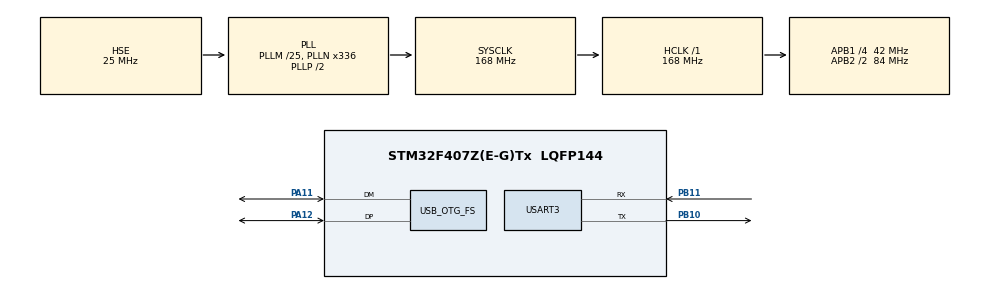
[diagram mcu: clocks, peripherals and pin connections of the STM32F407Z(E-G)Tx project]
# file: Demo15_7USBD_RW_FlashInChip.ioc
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Mcu.Family=STM32F4
Mcu.Name=STM32F407Z(E-G)Tx
Mcu.Package=LQFP144
NVIC.OTG_FS_IRQn=true\:1\:0\:true\:false\:true\:false\:true\:true
NVIC.PriorityGroup=NVIC_PRIORITYGROUP_4
PA11.Mode=Device_Only
PA11.Signal=USB_OTG_FS_DM
PA12.Mode=Device_Only
PA12.Signal=USB_OTG_FS_DP
PA13.Mode=Serial_Wire
PA13.Signal=SYS_JTMS-SWDIO
PA14.Mode=Serial_Wire
PA14.Signal=SYS_JTCK-SWCLK
PB10.Mode=Asynchronous
PB10.Signal=USART3_TX
PB11.Mode=Asynchronous
PB11.Signal=USART3_RX
PH0-OSC_IN.Mode=HSE-External-Oscillator
PH0-OSC_IN.Signal=RCC_OSC_IN
PH1-OSC_OUT.Mode=HSE-External-Oscillator
PH1-OSC_OUT.Signal=RCC_OSC_OUT
ProjectManager.HeapSize=0x1000
ProjectManager.StackSize=0x400
ProjectManager.TargetToolchain=STM32CubeIDE
RCC.48MHZClocksFreq_Value=48000000
RCC.AHBFreq_Value=168000000
RCC.APB1CLKDivider=RCC_HCLK_DIV4
RCC.APB1Freq_Value=42000000
RCC.APB1TimFreq_Value=84000000
RCC.APB2CLKDivider=RCC_HCLK_DIV2
RCC.APB2Freq_Value=84000000
RCC.APB2TimFreq_Value=168000000
RCC.CortexFreq_Value=168000000
RCC.HCLKFreq_Value=168000000
RCC.HSE_VALUE=25000000
RCC.HSI_VALUE=16000000
RCC.LSE_VALUE=32768
RCC.PLLM=25
RCC.PLLN=336
RCC.PLLQ=7
RCC.SYSCLKFreq_VALUE=168000000
RCC.SYSCLKSource=RCC_SYSCLKSOURCE_PLLCLK
RCC.VCOOutputFreq_Value=336000000
USART3.VirtualMode=VM_ASYNC
USB_DEVICE.CLASS_NAME_FS=MSC
USB_DEVICE.MSC_MEDIA_PACKET-MSC_FS=4096
USB_DEVICE.VirtualMode-MSC_FS=Msc
USB_DEVICE.VirtualModeFS=Msc_FS
USB_OTG_FS.VirtualMode=Device_Only
VP_USB_DEVICE_VS_USB_DEVICE_MSC_FS.Mode=MSC_FS
board=custom

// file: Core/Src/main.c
/* USER CODE BEGIN Header */
/**
  ******************************************************************************
  * @file           : main.c
  * @brief          : Main program body
  ******************************************************************************
  * @attention
  *
  * Copyright (c) 2026 STMicroelectronics.
  * All rights reserved.
  *
  * This software is licensed under terms that can be found in the LICENSE file
  * in the root directory of this software component.
  * If no LICENSE file comes with this software, it is provided AS-IS.
  *
  ******************************************************************************
  */
/* USER CODE END Header */
#include "main.h"
#include "usart.h"
#include "usb_device.h"
#include "gpio.h"

/* USER CODE BEGIN Includes */
#include "stdio.h"
/* USER CODE END Includes */

/* USER CODE BEGIN PM */
#define FLASH_USER_START_ADDR   ADDR_FLASH_SECTOR_10
#define FLASH_USER_END_ADDR     ADDR_FLASH_SECTOR_11
#define DATA_32                 ((uint32_t)0x12345678)
/* USER CODE END PM */

void SystemClock_Config(void);
/* USER CODE BEGIN PFP */
static uint32_t GetSector(uint32_t Address);
/* USER CODE END PFP */

int main(void)
{

  /* MCU Configuration--------------------------------------------------------*/

  /* Reset of all peripherals, Initializes the Flash interface and the Systick. */
  HAL_Init();

  /* Configure the system clock */
  SystemClock_Config();

  /* Initialize all configured peripherals */
  MX_GPIO_Init();
  MX_USART3_UART_Init();
  MX_USB_DEVICE_Init();
  /* USER CODE BEGIN 2 */
  printf("test Demo15_7 read and write Flash_In_Chip, and used for USBD MSC.\r\n");

//  Test1_FlashInChip();
//  Test2_FlashInChip();
  Test3_FlashInChip();
  /* USER CODE END 2 */

  /* Infinite loop */
  while (1)
  {

  }
}

void SystemClock_Config(void)
{
  RCC_OscInitTypeDef RCC_OscInitStruct = {0};
  RCC_ClkInitTypeDef RCC_ClkInitStruct = {0};

  /** Configure the main internal regulator output voltage
  */
  __HAL_RCC_PWR_CLK_ENABLE();
  __HAL_PWR_VOLTAGESCALING_CONFIG(PWR_REGULATOR_VOLTAGE_SCALE1);

  /** Initializes the RCC Oscillators according to the specified parameters
  * in the RCC_OscInitTypeDef structure.
  */
  RCC_OscInitStruct.OscillatorType = RCC_OSCILLATORTYPE_HSE;
  RCC_OscInitStruct.HSEState = RCC_HSE_ON;
  RCC_OscInitStruct.PLL.PLLState = RCC_PLL_ON;
  RCC_OscInitStruct.PLL.PLLSource = RCC_PLLSOURCE_HSE;
  RCC_OscInitStruct.PLL.PLLM = 25;
  RCC_OscInitStruct.PLL.PLLN = 336;
  RCC_OscInitStruct.PLL.PLLP = RCC_PLLP_DIV2;
  RCC_OscInitStruct.PLL.PLLQ = 7;
  if (HAL_RCC_OscConfig(&RCC_OscInitStruct) != HAL_OK)
  {
    Error_Handler();
  }

  /** Initializes the CPU, AHB and APB buses clocks
  */
  RCC_ClkInitStruct.ClockType = RCC_CLOCKTYPE_HCLK|RCC_CLOCKTYPE_SYSCLK
                              |RCC_CLOCKTYPE_PCLK1|RCC_CLOCKTYPE_PCLK2;
  RCC_ClkInitStruct.SYSCLKSource = RCC_SYSCLKSOURCE_PLLCLK;
  RCC_ClkInitStruct.AHBCLKDivider = RCC_SYSCLK_DIV1;
  RCC_ClkInitStruct.APB1CLKDivider = RCC_HCLK_DIV4;
  RCC_ClkInitStruct.APB2CLKDivider = RCC_HCLK_DIV2;

  if (HAL_RCC_ClockConfig(&RCC_ClkInitStruct, FLASH_LATENCY_5) != HAL_OK)
  {
    Error_Handler();
  }
}

/* USER CODE BEGIN 4 */
/*
*	 @brief:get sector
*/
/* start test 6 */
uint32_t Addr_Index[12+1] = {ADDR_FLASH_SECTOR_0,ADDR_FLASH_SECTOR_1,ADDR_FLASH_SECTOR_2,\
                          ADDR_FLASH_SECTOR_3,ADDR_FLASH_SECTOR_4,ADDR_FLASH_SECTOR_5,\
                          ADDR_FLASH_SECTOR_6,ADDR_FLASH_SECTOR_7,ADDR_FLASH_SECTOR_8,\
                          ADDR_FLASH_SECTOR_9,ADDR_FLASH_SECTOR_10,ADDR_FLASH_SECTOR_11,ADDR_FLASH_SECTOR_12};

uint8_t FlashSector_Index[12] = {FLASH_SECTOR_0,FLASH_SECTOR_1,FLASH_SECTOR_2,
                                FLASH_SECTOR_3,FLASH_SECTOR_4,FLASH_SECTOR_5,
                                FLASH_SECTOR_6,FLASH_SECTOR_7,FLASH_SECTOR_8,
                                FLASH_SECTOR_9,FLASH_SECTOR_10,FLASH_SECTOR_11,};
/**
  * @brief  give the sector according to the address
  *			such as:
			BeginSector =GetSector(start_addr);
			EndSector =GetSector(start_addr +bytes_tobe_written -1);
  * @param  Address：address
  * @retval the sector where the address is located
  */
static uint32_t GetSector(uint32_t Address)
{
	/* Check the parameters */
	assert_param(IS_FLASH_ADDRESS(Address));

	uint32_t sector = 0;
	for(uint8_t i=0; i<12; i++)
		if((Address >=Addr_Index[i]) && (Address <Addr_Index[i+1]))
			sector =(uint32_t)(FlashSector_Index[i]);

	return sector;
}

/*
*  @brief:write flash according to byte address.
*  @prama start_addr: physic address begin to read,such as 0x08020100.
*  @param bytes_tobe_rw: total bytes to be write,bytes.
*  @retval voidֵ
*/
void Flash_Write(uint8_t *RAM_Buffer, uint32_t start_addr, uint32_t bytes_tobe_rw)
{
/* erase user area.
 * The user area refers to the space not utilized by the program itself,
 * which can be customized.
*/
/* clear FLASH flags*/
	__HAL_FLASH_CLEAR_FLAG(FLASH_FLAG_EOP | FLASH_FLAG_OPERR | FLASH_FLAG_WRPERR |
                  FLASH_FLAG_PGAERR | FLASH_FLAG_PGPERR|FLASH_FLAG_PGSERR);

	uint32_t StartSector = GetSector(start_addr);
	uint32_t EndSector = GetSector(start_addr +bytes_tobe_rw -1);

	HAL_FLASH_Unlock();
/* erase sectors or mass********************************/
	FLASH_EraseInitTypeDef eraseinit ={};
	eraseinit.NbSectors =EndSector -StartSector +1;
	eraseinit.Sector =StartSector;
	eraseinit.TypeErase =FLASH_TYPEERASE_SECTORS;
	eraseinit.VoltageRange =FLASH_VOLTAGE_RANGE_3;
	uint32_t SectorError =0;
	if(HAL_FLASHEx_Erase(&eraseinit, &SectorError) !=HAL_OK){
		printf("erase failure。");	//TEST
	}

/* Write into FLASH in words ********************************/
	uint32_t DATA32[bytes_tobe_rw/4] ={};
	for(uint32_t j=0; j <bytes_tobe_rw/4; j++)
	{
		DATA32[j] =RAM_Buffer[j*4+0] |(RAM_Buffer[j*4+1]<<8) |(RAM_Buffer[j*4+2]<<16) |(RAM_Buffer[j*4+3]<<24);
		printf("data ready, DATA32[0x%08lx] =0x%08lx,\r\n",j,DATA32[j]);//test
	}

	uint32_t Address =start_addr;
	uint32_t j =0;
	while (Address <(uint32_t)(start_addr +bytes_tobe_rw))
	{
		if(HAL_FLASH_Program(FLASH_TYPEPROGRAM_WORD, Address, DATA32[j]) == HAL_OK)
		{
			printf("写入Address %08lx =%08lx,\r\n",Address,DATA32[j]);	//test
			Address +=4;	//address alignment
			j ++;
		}
		else
			Error_Handler();
	}
	while (__HAL_FLASH_GET_FLAG(FLASH_FLAG_BSY));
	HAL_FLASH_Lock();
}

/*
*  @brief:read to RAM_Buffer flash according to byte address.
*  @prama start_addr: physic address begin to read,such as 0x08020100.
*  @param bytes_tobe_rw: total bytes to be read,bytes.
*  @retval voidֵ
*/
void Flash_Read(uint8_t *RAM_Buffer, uint32_t start_addr, uint32_t bytes_tobe_rw)
{
	uint32_t Address =start_addr;
    volatile uint32_t Data32[bytes_tobe_rw/4] ={};	//read in word 32bits

    uint32_t j=0;
  	while(Address <(start_addr +bytes_tobe_rw))
  	{
  		__DSB();
  		Data32[j] = *(volatile uint32_t*)Address;	//Forced read from physical address
  		RAM_Buffer[j*4+0] =(uint8_t)(Data32[j]&0xFF);
  		RAM_Buffer[j*4+1] =(uint8_t)((Data32[j]>>8)&0xFF);
  		RAM_Buffer[j*4+2] =(uint8_t)((Data32[j]>>16)&0xFF);
  		RAM_Buffer[j*4+3] =(uint8_t)((Data32[j]>>24)&0xFF);

  		printf("read Address %08lx =%08lx,\r\n", Address, Data32[j]);	//test
  		Address +=4;	//address alignment
  		j++;
  	}
}//Flash_Read

/* end test 6 */

/**
  * @brief  Test1 read and write flash in word,
  * @brief  constant.
  * @param  None
  * @retval void
  */
void Test1_FlashInChip(void)
{
	uint32_t StartSector =0;
	uint32_t EndSector =0;
	uint32_t Address =0;

	__IO uint32_t Data32 =0;
	__IO uint32_t MemoryProgramStatus =0;

	HAL_FLASH_Unlock();

/* erase user area.
 * The user area refers to the space not utilized by the program itself,
 * which can be customized.
*/
/* clear FLASH flags*/
	__HAL_FLASH_CLEAR_FLAG(FLASH_FLAG_EOP | FLASH_FLAG_OPERR | FLASH_FLAG_WRPERR |
                  FLASH_FLAG_PGAERR | FLASH_FLAG_PGPERR|FLASH_FLAG_PGSERR);

	StartSector = GetSector(FLASH_USER_START_ADDR);
	EndSector = GetSector(FLASH_USER_END_ADDR);

/* erase sectors or mass********************************/
//	FLASH_EraseInitTypeDef *eraseinit ={};
//	eraseinit->NbSectors =EndSector -StartSector +1;
//	eraseinit->Sector =StartSector;	//this 2 code have same effect
//	eraseinit->TypeErase =FLASH_TYPEERASE_SECTORS;
//	eraseinit->VoltageRange =FLASH_VOLTAGE_RANGE_3;
//	uint32_t *SectorError =0;
//	HAL_FLASHEx_Erase(eraseinit, SectorError);

	FLASH_EraseInitTypeDef eraseinit ={};
	eraseinit.NbSectors =EndSector -StartSector +1;
	eraseinit.Sector =StartSector;	//this 2 code have same effect
	eraseinit.TypeErase =FLASH_TYPEERASE_SECTORS;
	eraseinit.VoltageRange =FLASH_VOLTAGE_RANGE_3;
	uint32_t SectorError =0;
	if(HAL_FLASHEx_Erase(&eraseinit, &SectorError) !=HAL_OK){
		printf("erase failure.\r\n");
		//此处写入异常处理
	}
	else
		printf("erase success.\r\n");

/* Write into FLASH in words *******************************
 * Write a constant to each address in the specified address space
 */
	Address =FLASH_USER_START_ADDR;
	while (Address <FLASH_USER_END_ADDR)
	{
		if(HAL_FLASH_Program(FLASH_TYPEPROGRAM_WORD, Address, DATA_32) ==HAL_OK)
		{
	  		printf("write Address %08lx =%08lx,\r\n",Address,DATA_32);	//test
			Address =Address +4;
		}
    }

	HAL_FLASH_Lock();

/* read from FLASH and check***************************************/
/* MemoryProgramStatus  =0: write in correct
 * MemoryProgramStatus !=0:write in error
*/
  	Address =FLASH_USER_START_ADDR;
  	MemoryProgramStatus = 0;

  	//Check if the data read out is equal to the data written in.
  	while (Address <FLASH_USER_END_ADDR)
  	{
  		Data32 = *(__IO uint32_t*)Address;
  		printf("read Address %08lx =%08lx,\r\n",Address,Data32);	//test

  		//record data checked failed
  		if(Data32 != DATA_32)
  			MemoryProgramStatus++;
  		Address +=4;												//Address alignment
  	}
  	printf("check error times =%08lx,\r\n",MemoryProgramStatus);	//test
}

/**
  * @brief  Test2 read and write flash,
  * @brief  read and write flash,in bytes, half word, word, double word.
  * @brief  variable
  * @param  None
  * @retval void
  */
void Test2_FlashInChip(void)
{
	uint32_t StartSector = 0;
	uint32_t EndSector = 0;
	uint32_t Address = 0;
	uint16_t bytes_tobe_rw =64;	//bytes

/* erase user area.
 * The user area refers to the space not utilized by the program itself,
 * which can be customized.
 */
/* clear FLASH flags*/
	__HAL_FLASH_CLEAR_FLAG(FLASH_FLAG_EOP | FLASH_FLAG_OPERR | FLASH_FLAG_WRPERR |
                  FLASH_FLAG_PGAERR | FLASH_FLAG_PGPERR|FLASH_FLAG_PGSERR);

	HAL_FLASH_Unlock();

	StartSector = GetSector(FLASH_USER_START_ADDR);
	EndSector = GetSector(FLASH_USER_START_ADDR +bytes_tobe_rw -1);

/* erase sectors or mass********************************/
	FLASH_EraseInitTypeDef erase = {
			.TypeErase =FLASH_TYPEERASE_SECTORS,
	        .Sector =StartSector,
	        .NbSectors =(EndSector -StartSector +1),
	        .VoltageRange =FLASH_VOLTAGE_RANGE_3
	};
	uint32_t sector_error;
	if(HAL_FLASHEx_Erase(&erase, &sector_error) !=HAL_OK){
		printf("erase failure.\r\n");
		//Here is exception handling.
	}
	else
	  	printf("erase success.\r\n");

/* Write into FLASH in bytes,8bits ********************************/
	uint8_t DATA8[bytes_tobe_rw] ={};
	for(uint32_t i=0; i <bytes_tobe_rw;i++)
		DATA8[i] =i;

//	Address =FLASH_USER_START_ADDR;
//	uint8_t j =0;
//	while (Address <(uint32_t)(FLASH_USER_START_ADDR +bytes_tobe_rw))
//	{
//		if(HAL_FLASH_Program(FLASH_TYPEPROGRAM_BYTE, Address, DATA8[j]) == HAL_OK)
//		{
//	  		printf("写入Address %08lx =%02x,\r\n",Address,DATA8[j]);	//test
//			Address ++;
//			j ++;
//		}
//    }
//	while (__HAL_FLASH_GET_FLAG(FLASH_FLAG_BSY));

/* Write into FLASH in half word,16bits********************************/
//	uint16_t DATA16[bytes_tobe_rw/2] ={};
//	for(uint32_t j=0; j <bytes_tobe_rw/2; j++)
//	{
//		DATA16[j] =DATA8[j*2+0]|(DATA8[j*2+1]<<8);
//		printf("data ready, DATA16[0x%08lx] =0x%04x,\r\n",j,DATA16[j]);//test
//	}
//
//	Address =FLASH_USER_START_ADDR;
//	uint32_t j =0;
//	while (Address <(uint32_t)(FLASH_USER_START_ADDR +bytes_tobe_rw))
//	{
//		if(HAL_FLASH_Program(FLASH_TYPEPROGRAM_HALFWORD, Address, DATA16[j]) == HAL_OK)
//		{
//			printf("写入Address %08lx =%04x,\r\n",Address,DATA16[j]);	//test
//			Address +=2;
//			j ++;
//		}
//	}
//	while (__HAL_FLASH_GET_FLAG(FLASH_FLAG_BSY));

/* Write into FLASH in words, 32bits ********************************/
//	uint32_t DATA32[bytes_tobe_rw/4] ={};
//	for(uint32_t j=0; j <bytes_tobe_rw/4; j++)
//	{
//		DATA32[j] =DATA8[j*4+0] |(DATA8[j*4+1]<<8) |(DATA8[j*4+2]<<16) |(DATA8[j*4+3]<<24);
//		printf("data ready, DATA32[0x%08lx] =0x%08lx,\r\n",j,DATA32[j]);//test
//	}
//
//	Address =FLASH_USER_START_ADDR;
//	uint32_t j =0;
//	while (Address <(uint32_t)(FLASH_USER_START_ADDR +bytes_tobe_rw))
//	{
//		if(HAL_FLASH_Program(FLASH_TYPEPROGRAM_WORD, Address, DATA32[j]) == HAL_OK)
//		{
//			printf("写入Address %08lx =%08lx,\r\n",Address,DATA32[j]);	//test
//			Address +=4;
//			j ++;
//		}
//	}
//	while (__HAL_FLASH_GET_FLAG(FLASH_FLAG_BSY));

/* Write into FLASH in double words, 64bits********************************/
	uint64_t DATA64[bytes_tobe_rw/8] ={};
	uint32_t Hi_DATA64[bytes_tobe_rw/8] ={};
	uint32_t Li_DATA64[bytes_tobe_rw/8] ={};

	for(uint32_t j=0; j <bytes_tobe_rw/8; j++)
	{
		/* When shifting left more than 31 bits,
		 * ensure the operand is 64-bit (such as using uint64_t type casting)
		 * avoid 32-bit integer shift truncation.
		 */
		DATA64[j] =DATA8[j*8+0] |(DATA8[j*8+1]<<8) |(DATA8[j*8+2]<<16) |(DATA8[j*8+3]<<24) |
				((uint64_t)DATA8[j*8+4]<<32) |
				((uint64_t)DATA8[j*8+5]<<40) |
				((uint64_t)DATA8[j*8+6]<<48) |
				((uint64_t)DATA8[j*8+7]<<56);
		Hi_DATA64[j] =DATA64[j] >>32;
		Li_DATA64[j] =DATA64[j] &(0xFFFFFFFF);
		printf("data ready, DATA64[%lx] =0x%08lx%08lx,\r\n",j, Hi_DATA64[j], Li_DATA64[j]);	//test
	}

	Address =FLASH_USER_START_ADDR;
	uint32_t j =0;
	HAL_StatusTypeDef ret1,ret2;

	if(*(volatile uint32_t*)Address != 0xFFFFFFFF) {
		HAL_FLASHEx_Erase(&erase, &sector_error);	//Re-erase
	}
/* When TypeProgram is double word,
 * HAL_FLASH_Program write fails,
 * and it can only be written successfully after being split into word
 */
	while (Address <(uint32_t)(FLASH_USER_START_ADDR +bytes_tobe_rw))
	{
//		HAL_FLASH_Program(FLASH_TYPEPROGRAM_DOUBLEWORD, Address, DATA64[j]);	//Unavailable

		ret2 =HAL_FLASH_Program(FLASH_TYPEPROGRAM_WORD, Address, Li_DATA64[j]);
		ret1 =HAL_FLASH_Program(FLASH_TYPEPROGRAM_WORD, Address+4, Hi_DATA64[j]);

		if((ret1 ==HAL_OK) &&(ret2 ==HAL_OK))
		{
			printf("写入Address %08lx =0x%08lx%08lx,\r\n",Address, Hi_DATA64[j], Li_DATA64[j]);	//test
		}

		Address +=8;
		j ++;
	}
	while (__HAL_FLASH_GET_FLAG(FLASH_FLAG_BSY));

	HAL_FLASH_Lock();

/* read from FLASH in bytes, 8bits***************************************/
//  Address =FLASH_USER_START_ADDR;
//  volatile uint8_t Data8[bytes_tobe_rw] ={};
//	j=0;
//
//  while (Address <(FLASH_USER_START_ADDR +bytes_tobe_rw))
//  {
//	__DSB();
//  	Data8[j] = *(__IO uint8_t*)Address;
//  	printf("read Address %08lx =%02x,\r\n", Address, Data8[j]);		//test
//  	Address++;
//  	j++;
//  }

/* read from FLASH in half words, 16bits***************************************/
//  Address =FLASH_USER_START_ADDR;
//  volatile uint16_t Data16[bytes_tobe_rw/2] ={};
//  j=0;
//
//  while (Address <(FLASH_USER_START_ADDR +bytes_tobe_rw))
//  {
//	  __DSB();
//	  Data16[j] = *(__IO uint16_t*)Address;
//	  printf("read Address %08lx =0x%04x,\r\n", Address, Data16[j]);		//test
//	  Address +=2;
//	  j++;
//  }

/* read from FLASH in words, 32bits***************************************/
//  Address =FLASH_USER_START_ADDR;
//  volatile uint32_t Data32[bytes_tobe_rw/4] ={};
//	volatile uint32_t *pFlash;
//	j=0;
//
//	while (Address <(FLASH_USER_START_ADDR +bytes_tobe_rw))
//	{
//		__DSB();
//		pFlash = (volatile uint32_t*)Address;
//		Data32[j] = *pFlash;  //Forced read from physical address
//
//		printf("read Address %08lx =%08lx,\r\n", Address, Data32[j]);		//test
//		Address +=4;
//		j++;
//	}

/* read from FLASH in double words, 64bits split into two 32bits*******
 * method 1
 */
//  Address =FLASH_USER_START_ADDR;
//  volatile uint32_t Hi_Data64[bytes_tobe_rw/8] ={};
//  volatile uint32_t Li_Data64[bytes_tobe_rw/8] ={};
//  j=0;
//
//  while (Address <(FLASH_USER_START_ADDR +bytes_tobe_rw))
//  {
//	  __DSB();
//	  __HAL_FLASH_SET_LATENCY(FLASH_LATENCY_5); //Adjust according to the clock frequency
//
//	  //Read out 64 bits data at two times
//	  Li_Data64[j] =*(volatile uint32_t*)Address;
//	  Address +=4;
//	  Hi_Data64[j] =*(volatile uint32_t*)(Address);
//
//    printf("read Address, %08lx =0x%08lx%08lx,\r\n",Address-4, Hi_Data64[j], Li_Data64[j]);	//test
//	  Address +=4;
//    j++;
//  }

/* read from FLASH in double words, 64bits split into two 32bits*******
 * method 2 is more convenient to read.
 */
//  Address =FLASH_USER_START_ADDR;
//  volatile uint32_t Hi_Data64[bytes_tobe_rw/8] ={};
//  volatile uint32_t Li_Data64[bytes_tobe_rw/8] ={};
//  j=0;
//
//  while (Address <(FLASH_USER_START_ADDR +bytes_tobe_rw))
//  {
//	  __DSB();
//  	  __HAL_FLASH_SET_LATENCY(FLASH_LATENCY_5); //Adjust according to the clock frequency
//
//  	  //Read out 64 bits data at two times
//  	  Li_Data64[j] =*(volatile uint32_t*)Address;
//  	  Hi_Data64[j] =*(volatile uint32_t*)(Address +4);
//
//      printf("read Address, %08lx =0x%08lx%08lx,\r\n",Address, Hi_Data64[j], Li_Data64[j]);	//test
//  	  Address +=8;
//      j++;
//  }

/* read from FLASH in double words, 64bits************************
 * method 3
 */
  Address =FLASH_USER_START_ADDR;
  volatile uint64_t Data64[bytes_tobe_rw/8] ={};
  uint32_t Hi_Data64[bytes_tobe_rw/8] ={};
  uint32_t Li_Data64[bytes_tobe_rw/8] ={};
  j=0;

  volatile uint32_t Li_data64 = *(__IO uint32_t*)Address;
  printf("read first Address, %08lx =%08lx,\r\n",Address, Li_data64);	//test

  while (Address <(FLASH_USER_START_ADDR +bytes_tobe_rw))
  {
	  __DSB();
  	  __HAL_FLASH_SET_LATENCY(FLASH_LATENCY_5); //Adjust according to the clock frequency

  	  //Read out 64 bits data at a time
  	  Data64[j] = *(__IO uint64_t*)Address;
  	  Hi_Data64[j] =(Data64[j] >>32) &(0xFFFFFFFF);
  	  Li_Data64[j] =Data64[j] &(0xFFFFFFFF);

  	  printf("read Address, %08lx =0x%08lx%08lx,\r\n",Address, Hi_Data64[j], Li_Data64[j]);	//test
  	  Address +=8;
  	  j++;
  }

}//void Test2_FlashInChip(void)

/**
  * @brief  Test3 read and write flash in word,
  * @brief  use function,
  * @brief  variable
  * @param  None
  * @retval void
  */
void Test3_FlashInChip(void)
{
	//Assert condition
	uint32_t bytes_tobe_rw =64;	//bytes
	uint32_t start_addr =FLASH_USER_START_ADDR;

	/* Check the parameters */
//	assert_param(IS_FLASH_ADDRESS(start_addr));

	//Prepare uint8_t data
	uint8_t DATA8[bytes_tobe_rw] ={};
	for(uint16_t i=0; i <bytes_tobe_rw;i++)
		DATA8[i] =i;
	printf("数据准备完毕.\r\n");	//test

	//write in word
	Flash_Write(DATA8, start_addr, bytes_tobe_rw);
	HAL_Delay(1000);

	//read in word
	uint8_t RAM_Buffer[bytes_tobe_rw];
	Flash_Read(RAM_Buffer, start_addr, bytes_tobe_rw);

}//void Test3_FlashInChip(void)

int __io_putchar(int ch)
{
	HAL_UART_Transmit(&huart3,(uint8_t*)&ch,1,0xFFFF);
	return ch;
}
/* USER CODE END 4 */

void Error_Handler(void)
{
  __disable_irq();
  while (1)
  {
  }
}
